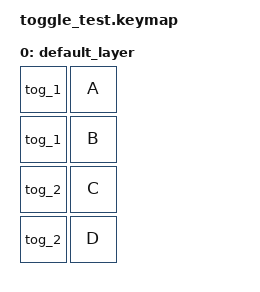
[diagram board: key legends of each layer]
// This file was generated from a template. Edit it to match your keyboard.
// See https://zmk.dev/docs/development/hardware-integration/new-shield for more instructions.

#include <behaviors.dtsi>
#include <dt-bindings/zmk/keys.h>

/ {

    
    behaviors {
       
      macros {
        tog_1: tog_1 {
            compatible = "zmk,behavior-macro";
            #binding-cells = <0>;
            bindings
                = <&macro_press &kp LSHFT>
                , <&macro_tap &kp T &kp O &kp G &kp 1>
                , <&macro_release &kp LSHFT>
                ;
        };

        tog_2: tog_2 {
            compatible = "zmk,behavior-macro";
            #binding-cells = <0>;
            bindings
                = <&macro_press &kp LSHFT>
                , <&macro_tap &kp T &kp O &kp G &kp 2>
                , <&macro_release &kp LSHFT>
                ;
        };

    };

    keymap {
        compatible = "zmk,keymap";

        default_layer {
            bindings = <
               &tog_1 &kp A 
               &tog_1 &kp B 
               &tog_2 &kp C
               &tog_2 &kp D
            >;
        };
    };
  };
};
